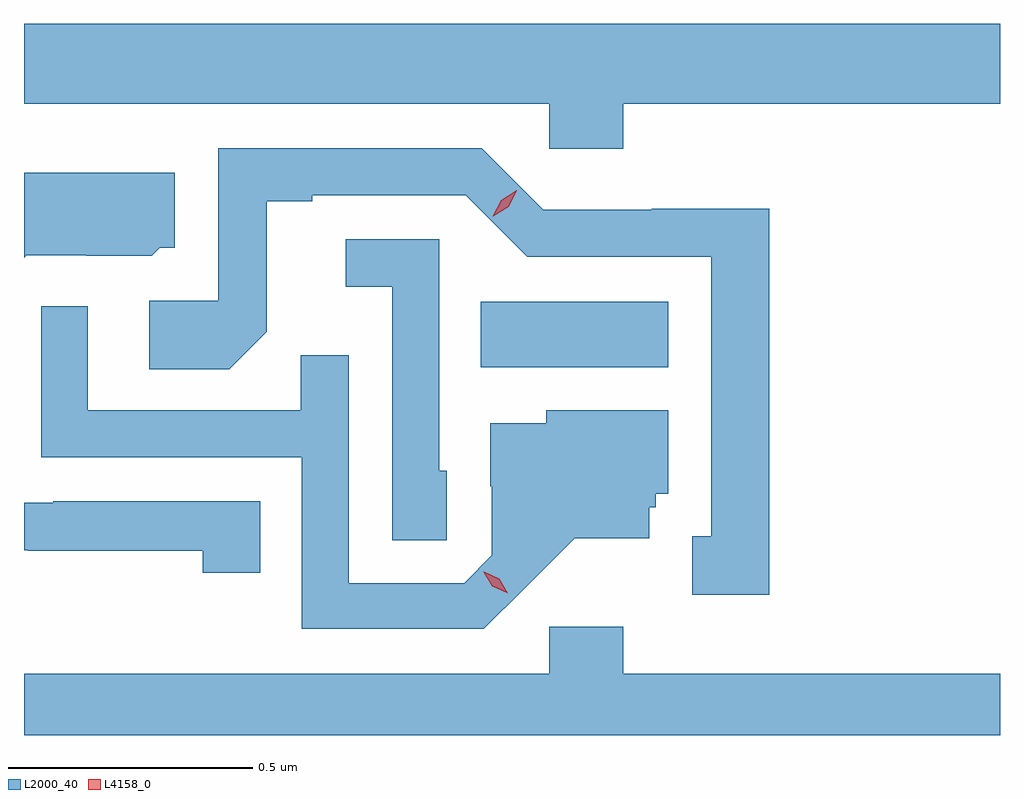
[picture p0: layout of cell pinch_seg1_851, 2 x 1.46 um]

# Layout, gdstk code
import gdstk
lib = gdstk.Library(unit=1e-6, precision=1e-09)
def R(c, l, rs):  # rectangles x0, y0, x1, y1
    for r in rs: c.add(gdstk.rectangle(r[:2], r[2:], *l))
def P(c, l, *ps):  # polygons
    for p in ps: c.add(gdstk.Polygon(p, *l))
L2000_40 = (2000, 40)
L4158_0 = (4158, 0)

pinch_seg1_851 = lib.new_cell('pinch_seg1_851')
R(pinch_seg1_851, L2000_40, [(484.132,568.508,484.516,568.642)])
P(pinch_seg1_851, L2000_40, [(484.424,569.048),(485.196,569.048),(485.196,569.212),(483.196,569.212),(483.196,569.048),(484.272,569.048),(484.272,568.955),(484.424,568.955)],
  [(484.723,568.832),(484.482,568.832),(484.482,568.83),(484.26,568.83),(484.134,568.956),(483.594,568.956),(483.594,568.644),(483.453,568.644),(483.453,568.504),(483.617,568.504),(483.693,568.58),(483.693,568.848),(483.787,568.848),(483.787,568.86),(484.101,568.86),(484.227,568.734),(484.604,568.734),(484.604,568.161),(484.565,568.161),(484.565,568.041),(484.723,568.041)],
  [(483.201,568.737),(483.324,568.737),(483.324,568.736),(483.458,568.736),(483.474,568.752),(483.505,568.752),(483.505,568.906),(483.196,568.906),(483.196,568.732)],
  [(484.062,568.296),(484.047,568.296),(484.047,568.77),(483.855,568.77),(483.855,568.673),(483.951,568.673),(483.951,568.153),(484.062,568.153)],
  [(484.222,568.055),(484.325,568.157),(484.477,568.157),(484.477,568.221),(484.491,568.221),(484.491,568.248),(484.516,568.248),(484.516,568.42),(484.266,568.42),(484.266,568.393),(484.151,568.393),(484.151,568.264),(484.155,568.264),(484.155,568.122),(484.098,568.065),(483.861,568.065),(483.861,568.532),(483.763,568.532),(483.763,568.419),(483.327,568.419),(483.327,568.633),(483.231,568.633),(483.231,568.323),(483.765,568.323),(483.765,567.972),(484.138,567.972)],
  [(483.68,568.233),(483.256,568.233),(483.256,568.23),(483.196,568.23),(483.196,568.133),(483.205,568.133),(483.205,568.132),(483.562,568.132),(483.562,568.086),(483.68,568.086)],
  [(485.196,567.88),(484.424,567.88),(484.424,567.976),(484.272,567.976),(484.272,567.88),(483.196,567.88),(483.196,567.753),(485.196,567.753)])
P(pinch_seg1_851, L4158_0, [(484.157,568.817),(484.157,568.817),(484.174,568.85),(484.206,568.87),(484.206,568.87),(484.206,568.869),(484.189,568.837),(484.158,568.817)],
  [(484.187,568.045),(484.156,568.059),(484.138,568.088),(484.138,568.089),(484.139,568.089),(484.17,568.074),(484.187,568.045),(484.187,568.045)])

lib.write_gds('pinch_seg1_851.gds')
